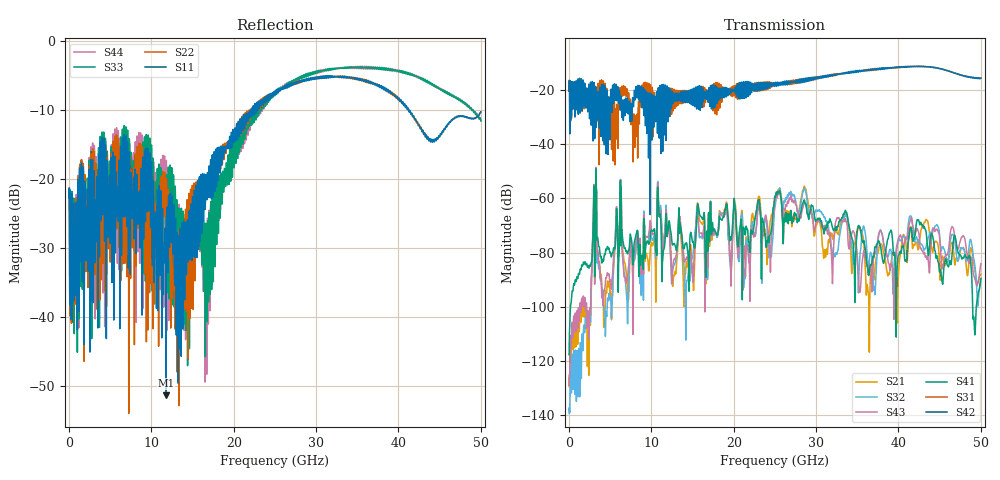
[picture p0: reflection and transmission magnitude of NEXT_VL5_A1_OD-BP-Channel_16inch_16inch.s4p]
#	Hz	S	RI	R	50
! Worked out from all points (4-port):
!   2500 points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, 20 MHz to 50 GHz, reference 50 ohm
!   strongest paths, dB at 20 MHz, 12.52 GHz, 25.02 GHz, 37.52 GHz, 50 GHz:
!     S42: -20.3, -20.4, -17.6, -11.9, -15.5
!     S31: -20.3, -21.3, -18.1, -12.0, -15.5
!     S41: -117.8, -76.7, -59.3, -75.8, -89.6
!     S43: -129.1, -89.7, -60.8, -74.4, -84.1
!     S32: -139.5, -88.9, -63.0, -75.9, -89.8
!     S21: -129.6, -90.6, -59.8, -80.1, -88.1
!   lowest |S11| = -51.3 dB at 11.78 GHz (marker M1), VSWR 1.01, Z = 49.7 - j0.0585 ohm
!   |S11| at or under -10 dB: start of sweep to 22.14 GHz; 22.2 GHz to 22.33 GHz (127.1 MHz wide, 0.571 % of centre); 41.23 GHz to end of sweep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
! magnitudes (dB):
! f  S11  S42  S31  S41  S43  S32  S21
! 20 MHz  -22.8  -20.3  -20.3  -117.8  -129.1  -139.5  -129.6
! 11.78 GHz  -51.3  -28.9  -21.4  -66.8  -64.9  -63.0  -63.4
! 24.44 GHz  -8.0  -17.7  -18.9  -73.1  -85.6  -78.6  -68.4
! 25.4 GHz  -7.4  -18.3  -18.1  -57.4  -58.0  -57.6  -56.8
! 28.58 GHz  -5.9  -16.6  -16.5  -60.6  -61.6  -56.2  -55.5
! 31.1 GHz  -5.3  -15.1  -15.1  -70.8  -70.1  -67.4  -80.8
! 50 GHz  -10.3  -15.5  -15.5  -89.6  -84.1  -89.8  -88.1
